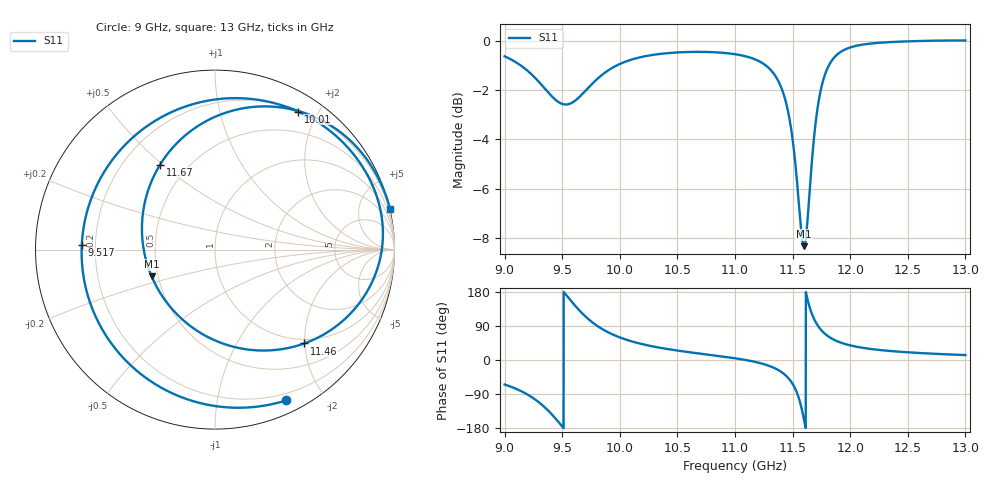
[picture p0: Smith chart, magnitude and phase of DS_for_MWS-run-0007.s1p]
! TOUCHSTONE file generated by CST DESIGN STUDIO
! Date and time: Tue Feb  4 16:19:28 2025
! Project name: C:\Work\MatlabApps\UnitCellOptimizationMatlab\CST\unitcell.cst
! Tree item: Tasks\Sweep1\SPara1\S-Parameters
! Header version: 2024
! Port assignment regex: !\s*Touchstone port\s*([0-9]+)\s*=\s*(CST MWS port|CST DES external port|CST DES block port)\s*(.+)\s* \(\"(.*)\"\)(\s*mode\s*([0-9]+))?.*
! Touchstone port assignment:
! Touchstone port 1 = CST DES external port 1 ("")
# GHz S MA R 50
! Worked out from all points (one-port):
!   4001 points, 9 GHz to 13 GHz, reference 50 ohm
!   lowest |S11| = -8.3 dB at 11.6 GHz (marker M1), VSWR 2.24, Z = 23 - j7.99 ohm
!   |S11| at or under -10 dB: nowhere
!   S11 on the Smith chart (normalised r, x): 9 GHz: 0.13, -1.57; 9.517 GHz: 0.15, +0.02; 10.01 GHz: 0.22, +1.75; 11.46 GHz: 0.91, -1.99; 11.67 GHz: 0.35, +0.49; 13 GHz: -0.02, +8.78
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9  0.9293 -64.7
9.169  0.8803 -86.1
9.287  0.83 -109.1
9.388  0.7809 -136.5
9.5  0.7444 -175.5
9.517  0.7427 178.2
9.63  0.7616 137.1
9.728  0.8032 107.8
9.84  0.8501 83.0
10  0.8966 59.6
10.006  0.8979 58.9
10.216  0.9293 40.4
10.5  0.9463 24.9
11  0.9385 4.6
11.303  0.8754 -16.3
11.391  0.8143 -29.3
11.459  0.7217 -46.4
11.5  0.631 -63.0
11.551  0.4784 -97.7
11.599  0.3834 -157.3
11.631  0.4374 158.0
11.666  0.5639 122.8
11.711  0.7146 94.4
11.763  0.8271 74.2
11.863  0.9251 52.9
12  0.9686 38.6
12.5  0.9965 20.3
13  1.001 13.0
